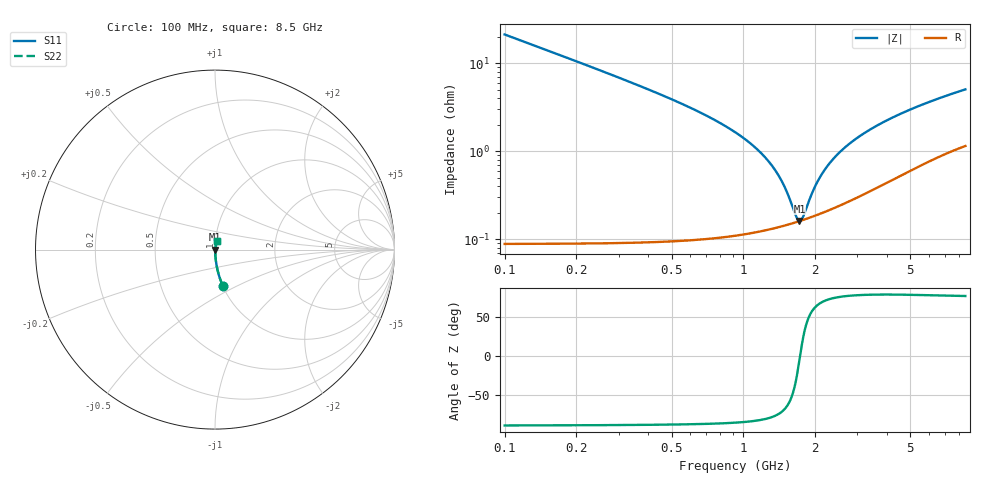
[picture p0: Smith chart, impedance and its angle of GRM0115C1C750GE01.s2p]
!Murata Part Number: GRM0115C1C750GE01
!These Parameters are Measured in Series Mode Connection
!Data Generated on Mar 30, 2021
!  o--ll--o
!Port1  Port2
!  o------o
!Operation Temp=25[degC], DC Bias Voltage=0[V]
!Freq. Start=100[MHz] Stop=9[GHz] 401[Steps]
# Hz S RI R 50
!Freq.(Hz) S11(Real) S11(Imag) S21(Real) S21(Imag) S12(Real) S12(Imag) S22(Real) S22(Imag)
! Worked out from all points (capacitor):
!   401 points, 100 MHz to 8.5 GHz, reference 50 ohm
!   read as one part in series: C = 75 pF near 142 MHz
!   lowest |Z| = 161 mohm at 1.717 GHz (marker M1)
!   series resonance near 1.727 GHz, so ESL is about 110 pH
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1e8  0.0436 -0.2021  0.9564 0.2021  0.9564 0.2021  0.0436 -0.2021
1.84e8  0.0137 -0.1123  0.9863 0.1123  0.9863 0.1123  0.0137 -0.1123
2.47e8  0.0079 -0.0834  0.9921 0.0834  0.9921 0.0834  0.0079 -0.0834
3.94e8  0.00351 -0.0508  0.9965 0.0508  0.9965 0.0508  0.00351 -0.0508
6.04e8  0.00191 -0.0307  0.9981 0.0307  0.9981 0.0307  0.00191 -0.0307
1.213e9  0.00132 -0.0088  0.9987 0.0088  0.9987 0.0088  0.00132 -0.0088
1.381e9  0.00138 -0.00549  0.9986 0.00549  0.9986 0.00549  0.00138 -0.00549
1.507e9  0.00145 -0.00332  0.9986 0.00332  0.9986 0.00332  0.00145 -0.00332
1.654e9  0.00155 -0.00105  0.9985 0.00105  0.9985 0.00105  0.00155 -0.00105
1.717e9  0.0016 -0.000141  0.9984 0.000141  0.9984 0.000141  0.0016 -0.000141
1.78e9  0.00165 0.000732  0.9983 -0.000732  0.9983 -0.000732  0.00165 0.000732
1.927e9  0.00179 0.00266  0.9982 -0.00266  0.9982 -0.00266  0.00179 0.00266
2.011e9  0.00187 0.00369  0.9981 -0.00369  0.9981 -0.00369  0.00187 0.00369
2.2e9  0.00207 0.00589  0.9979 -0.00589  0.9979 -0.00589  0.00207 0.00589
2.347e9  0.00225 0.00749  0.9978 -0.00749  0.9978 -0.00749  0.00225 0.00749
2.515e9  0.00246 0.00922  0.9975 -0.00922  0.9975 -0.00922  0.00246 0.00922
2.914e9  0.00302 0.013  0.997 -0.013  0.997 -0.013  0.00302 0.013
3.523e9  0.004 0.0182  0.996 -0.0182  0.996 -0.0182  0.004 0.0182
4.3e9  0.00541 0.024  0.9946 -0.024  0.9946 -0.024  0.00541 0.024
5.707e9  0.0082 0.0331  0.9918 -0.0331  0.9918 -0.0331  0.0082 0.0331
7.114e9  0.011 0.0409  0.989 -0.0409  0.989 -0.0409  0.011 0.0409
8.5e9  0.0136 0.0478  0.9864 -0.0478  0.9864 -0.0478  0.0136 0.0478
